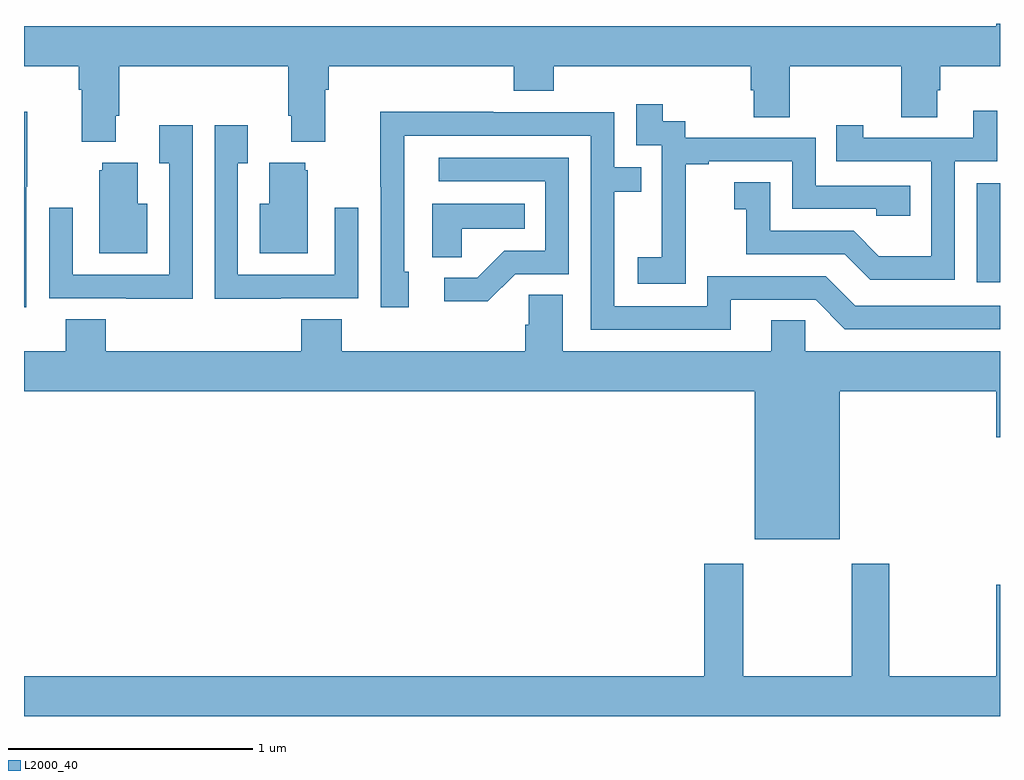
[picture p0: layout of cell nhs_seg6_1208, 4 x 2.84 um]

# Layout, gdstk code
import gdstk
lib = gdstk.Library(unit=1e-6, precision=1e-09)
def R(c, l, rs):  # rectangles x0, y0, x1, y1
    for r in rs: c.add(gdstk.rectangle(r[:2], r[2:], *l))
def P(c, l, *ps):  # polygons
    for p in ps: c.add(gdstk.Polygon(p, *l))
L2000_40 = (2000, 40)

nhs_seg6_1208 = lib.new_cell('nhs_seg6_1208')
R(nhs_seg6_1208, L2000_40, [(188.904,958.44,189,958.845)])
P(nhs_seg6_1208, L2000_40, [(185.377,959.122),(185.39,959.122),(185.39,959.324),(186.083,959.324),(186.083,959.122),(186.095,959.122),(186.095,959.015),(186.235,959.015),(186.235,959.228),(186.248,959.228),(186.248,959.324),(187.007,959.324),(187.007,959.225),(187.172,959.225),(187.172,959.324),(187.979,959.324),(187.979,959.226),(187.991,959.226),(187.991,959.116),(188.139,959.116),(188.139,959.324),(188.596,959.324),(188.596,959.116),(188.743,959.116),(188.743,959.226),(188.756,959.226),(188.756,959.324),(189,959.324),(189,959.5),(188.984,959.5),(188.984,959.488),(185,959.488),(185,959.324),(185.225,959.324),(185.225,959.228),(185.237,959.228),(185.237,959.015),(185.377,959.015)],
  [(187.713,958.639),(187.712,958.639),(187.712,958.923),(187.807,958.923),(187.807,958.935),(188.148,958.935),(188.148,958.74),(188.493,958.74),(188.493,958.713),(188.633,958.713),(188.633,958.836),(188.244,958.836),(188.244,959.031),(187.71,959.031),(187.71,959.1),(187.618,959.1),(187.618,959.17),(187.509,959.17),(187.509,959.001),(187.614,959.001),(187.614,958.772),(187.613,958.772),(187.613,958.543),(187.515,958.543),(187.515,958.433),(187.713,958.433)],
  [(188.814,958.935),(188.988,958.935),(188.988,959.143),(188.891,959.143),(188.891,959.031),(188.44,959.031),(188.44,959.083),(188.329,959.083),(188.329,958.935),(188.718,958.935),(188.718,958.546),(188.504,958.546),(188.4,958.65),(188.058,958.65),(188.058,958.849),(187.911,958.849),(187.911,958.739),(187.96,958.739),(187.96,958.554),(188.363,958.554),(188.468,958.449),(188.814,958.449)],
  [(187.897,958.368),(188.244,958.368),(188.364,958.248),(189,958.248),(189,958.344),(188.406,958.344),(188.286,958.464),(187.8,958.464),(187.8,958.341),(187.419,958.341),(187.419,958.81),(187.529,958.81),(187.529,958.911),(187.419,958.911),(187.419,959.136),(186.923,959.136),(186.923,959.138),(186.46,959.138),(186.46,958.831),(186.462,958.831),(186.462,958.338),(186.577,958.338),(186.577,958.482),(186.558,958.482),(186.558,959.04),(187.323,959.04),(187.323,958.245),(187.897,958.245)],
  [(185.01,958.831),(185.013,958.831),(185.013,959.138),(185,959.138),(185,958.338),(185.01,958.338)],
  [(185.691,959.083),(185.555,959.083),(185.555,958.927),(185.595,958.927),(185.595,958.47),(185.199,958.47),(185.199,958.744),(185.103,958.744),(185.103,958.374),(185.419,958.374),(185.419,958.373),(185.691,958.373)],
  [(186.053,958.374),(186.369,958.374),(186.369,958.744),(186.273,958.744),(186.273,958.47),(185.877,958.47),(185.877,958.927),(185.917,958.927),(185.917,959.083),(185.781,959.083),(185.781,958.373),(186.053,958.373)],
  [(187.014,958.473),(187.233,958.473),(187.233,958.95),(186.699,958.95),(186.699,958.854),(187.137,958.854),(187.137,958.569),(186.968,958.569),(186.857,958.458),(186.723,958.458),(186.723,958.361),(186.901,958.361)],
  [(186.163,958.899),(186.152,958.899),(186.152,958.93),(186.005,958.93),(186.005,958.762),(185.966,958.762),(185.966,958.559),(186.163,958.559)],
  [(185.506,958.762),(185.467,958.762),(185.467,958.93),(185.321,958.93),(185.321,958.899),(185.309,958.899),(185.309,958.559),(185.506,958.559)],
  [(186.795,958.658),(187.052,958.658),(187.052,958.762),(186.674,958.762),(186.674,958.543),(186.795,958.543)],
  [(188.344,957.992),(188.984,957.992),(188.984,957.804),(189,957.804),(189,958.156),(188.202,958.156),(188.202,958.283),(188.063,958.283),(188.063,958.156),(187.207,958.156),(187.207,958.388),(187.068,958.388),(187.068,958.265),(187.055,958.265),(187.055,958.156),(186.302,958.156),(186.302,958.289),(186.137,958.289),(186.137,958.156),(185.336,958.156),(185.336,958.289),(185.171,958.289),(185.171,958.156),(185,958.156),(185,957.992),(187.994,957.992),(187.994,957.386),(188.344,957.386)],
  [(189,957.199),(188.984,957.199),(188.984,956.824),(188.547,956.824),(188.547,957.286),(188.392,957.286),(188.392,956.824),(187.947,956.824),(187.947,957.286),(187.787,957.286),(187.787,956.824),(185,956.824),(185,956.66),(189,956.66)])

lib.write_gds('nhs_seg6_1208.gds')
